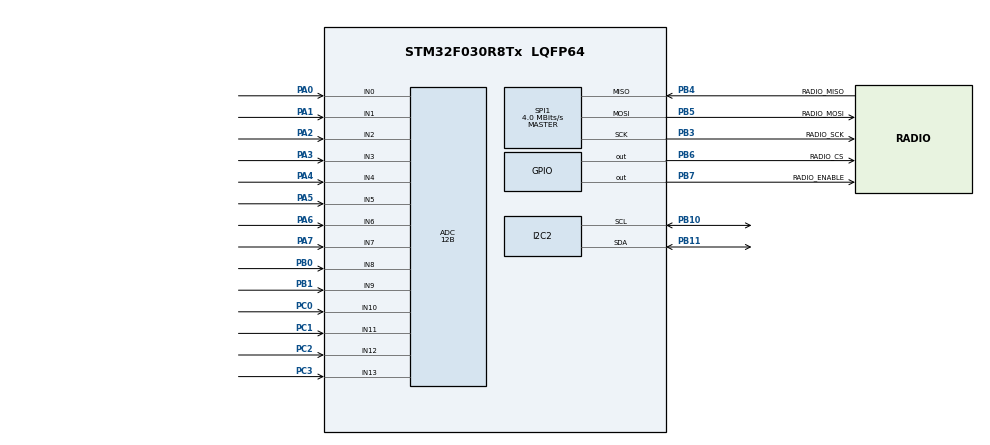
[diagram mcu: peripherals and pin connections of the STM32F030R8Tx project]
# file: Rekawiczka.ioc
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ADC.ClockPrescaler=ADC_CLOCK_SYNC_PCLK_DIV2
ADC.ContinuousConvMode=ENABLE
ADC.DMAContinuousRequests=ENABLE
ADC.DataAlign=ADC_DATAALIGN_RIGHT
ADC.DiscontinuousConvMode=DISABLE
ADC.EOCSelection=ADC_EOC_SEQ_CONV
ADC.EnableAnalogWatchDog=false
ADC.ExternalTrigConv=ADC_SOFTWARE_START
ADC.ExternalTrigConvEdge=ADC_EXTERNALTRIGCONVEDGE_NONE
ADC.LowPowerAutoPowerOff=DISABLE
ADC.LowPowerAutoWait=DISABLE
ADC.Overrun=ADC_OVR_DATA_OVERWRITTEN
ADC.Resolution=ADC_RESOLUTION_12B
ADC.SamplingTime=ADC_SAMPLETIME_7CYCLES_5
ADC.ScanConvMode=ADC_SCAN_DIRECTION_FORWARD
Dma.ADC.0.Direction=DMA_PERIPH_TO_MEMORY
Dma.ADC.0.Instance=DMA1_Channel1
Dma.ADC.0.MemDataAlignment=DMA_MDATAALIGN_HALFWORD
Dma.ADC.0.MemInc=DMA_MINC_ENABLE
Dma.ADC.0.Mode=DMA_CIRCULAR
Dma.ADC.0.PeriphDataAlignment=DMA_PDATAALIGN_HALFWORD
Dma.ADC.0.PeriphInc=DMA_PINC_DISABLE
Dma.ADC.0.Priority=DMA_PRIORITY_LOW
Dma.Request0=ADC
Mcu.Family=STM32F0
Mcu.Name=STM32F030R8Tx
Mcu.Package=LQFP64
NVIC.DMA1_Channel1_IRQn=true\:0\:0\:false\:false\:true\:false
PA0.Mode=IN0
PA0.Signal=ADC_IN0
PA1.Mode=IN1
PA1.Signal=ADC_IN1
PA13.Mode=Serial_Wire
PA13.Signal=SYS_SWDIO
PA14.Mode=Serial_Wire
PA14.Signal=SYS_SWCLK
PA2.Mode=IN2
PA2.Signal=ADC_IN2
PA3.Mode=IN3
PA3.Signal=ADC_IN3
PA4.Mode=IN4
PA4.Signal=ADC_IN4
PA5.Mode=IN5
PA5.Signal=ADC_IN5
PA6.Mode=IN6
PA6.Signal=ADC_IN6
PA7.Mode=IN7
PA7.Signal=ADC_IN7
PB0.Mode=IN8
PB0.Signal=ADC_IN8
PB1.Mode=IN9
PB1.Signal=ADC_IN9
PB10.Mode=I2C
PB10.Signal=I2C2_SCL
PB11.Mode=I2C
PB11.Signal=I2C2_SDA
PB3.GPIO_Label=RADIO_SCK
PB3.Mode=Full_Duplex_Master
PB3.Signal=SPI1_SCK
PB4.GPIO_Label=RADIO_MISO
PB4.Mode=Full_Duplex_Master
PB4.Signal=SPI1_MISO
PB5.GPIO_Label=RADIO_MOSI
PB5.Mode=Full_Duplex_Master
PB5.Signal=SPI1_MOSI
PB6.GPIO_Label=RADIO_CS
PB6.Signal=GPIO_Output
PB7.GPIO_Label=RADIO_ENABLE
PB7.Signal=GPIO_Output
PC0.Mode=IN10
PC0.Signal=ADC_IN10
PC1.Mode=IN11
PC1.Signal=ADC_IN11
PC2.Mode=IN12
PC2.Signal=ADC_IN12
PC3.Mode=IN13
PC3.Signal=ADC_IN13
ProjectManager.HeapSize=0x200
ProjectManager.StackSize=0x400
ProjectManager.TargetToolchain=TrueSTUDIO
SPI1.BaudRatePrescaler=SPI_BAUDRATEPRESCALER_2
SPI1.CalculateBaudRate=4.0 MBits/s
SPI1.DataSize=SPI_DATASIZE_8BIT
SPI1.Direction=SPI_DIRECTION_2LINES
SPI1.Mode=SPI_MODE_MASTER
SPI1.VirtualType=VM_MASTER
board=Rekawiczka

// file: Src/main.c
/**
 ******************************************************************************
 * @file           : main.c
 * @brief          : Main program body
 ******************************************************************************
 ** This notice applies to any and all portions of this file
 * that are not between comment pairs USER CODE BEGIN and
 * USER CODE END. Other portions of this file, whether
 * inserted by the user or by software development tools
 * are owned by their respective copyright owners.
 *
 * COPYRIGHT(c) 2018 STMicroelectronics
 *
 * Redistribution and use in source and binary forms, with or without modification,
 * are permitted provided that the following conditions are met:
 *   1. Redistributions of source code must retain the above copyright notice,
 *      this list of conditions and the following disclaimer.
 *   2. Redistributions in binary form must reproduce the above copyright notice,
 *      this list of conditions and the following disclaimer in the documentation
 *      and/or other materials provided with the distribution.
 *   3. Neither the name of STMicroelectronics nor the names of its contributors
 *      may be used to endorse or promote products derived from this software
 *      without specific prior written permission.
 *
 * THIS SOFTWARE IS PROVIDED BY THE COPYRIGHT HOLDERS AND CONTRIBUTORS "AS IS"
 * AND ANY EXPRESS OR IMPLIED WARRANTIES, INCLUDING, BUT NOT LIMITED TO, THE
 * IMPLIED WARRANTIES OF MERCHANTABILITY AND FITNESS FOR A PARTICULAR PURPOSE ARE
 * DISCLAIMED. IN NO EVENT SHALL THE COPYRIGHT HOLDER OR CONTRIBUTORS BE LIABLE
 * FOR ANY DIRECT, INDIRECT, INCIDENTAL, SPECIAL, EXEMPLARY, OR CONSEQUENTIAL
 * DAMAGES (INCLUDING, BUT NOT LIMITED TO, PROCUREMENT OF SUBSTITUTE GOODS OR
 * SERVICES; LOSS OF USE, DATA, OR PROFITS; OR BUSINESS INTERRUPTION) HOWEVER
 * CAUSED AND ON ANY THEORY OF LIABILITY, WHETHER IN CONTRACT, STRICT LIABILITY,
 * OR TORT (INCLUDING NEGLIGENCE OR OTHERWISE) ARISING IN ANY WAY OUT OF THE USE
 * OF THIS SOFTWARE, EVEN IF ADVISED OF THE POSSIBILITY OF SUCH DAMAGE.
 *
 ******************************************************************************
 */
#include "main.h"
#include "stm32f0xx_hal.h"
#include "adc.h"
#include "dma.h"
#include "i2c.h"
#include "spi.h"
#include "gpio.h"

/* USER CODE BEGIN Includes */
#include "hand_module_radio.h"
/* USER CODE END Includes */

/* USER CODE BEGIN PV */
/* Private variables ---------------------------------------------------------*/
uint16_t ADC_Value[14];
uint16_t dataToSend[10];

#define MAX_8BIT 256.0f
#define MAX_12BIT 4096
#define HALF_OF_12 2098
/* USER CODE END PV */

void SystemClock_Config(void);

/* USER CODE BEGIN PFP */
/* Private function prototypes -----------------------------------------------*/

/* USER CODE END PFP */

int main(void) {

	/* MCU Configuration----------------------------------------------------------*/

	/* Reset of all peripherals, Initializes the Flash interface and the Systick. */
	HAL_Init();

	/* Configure the system clock */
	SystemClock_Config();

	/* Initialize all configured peripherals */
	MX_GPIO_Init();
	MX_DMA_Init();
	MX_ADC_Init();
	MX_I2C2_Init();
	MX_SPI1_Init();
	/* USER CODE BEGIN 2 */
	handModuleRadioInit();
	TM_NRF24L01_Transmit_Status_t transmissionStatus;

	uint8_t isConnection = 0;

	isConnection = 1;

	HAL_ADC_Start_DMA(&hadc, (uint8_t*) ADC_Value, 14);
	/* USER CODE END 2 */

	/* Infinite loop */
	/* USER CODE BEGIN WHILE */
	while (1) {
		dataToSend[0] = ADC_Value[1];
		dataToSend[1] = ADC_Value[0];
		dataToSend[2] = ADC_Value[4];
		dataToSend[3] = ADC_Value[5];
		dataToSend[4] = ADC_Value[6];
		dataToSend[5] = ADC_Value[7];
		dataToSend[6] = ADC_Value[13];
		dataToSend[7] = ADC_Value[12];
		dataToSend[8] = ADC_Value[11];
		dataToSend[9] = ADC_Value[10];

		TM_NRF24L01_Transmit((uint8_t*) dataToSend);
		/* Wait for data to be sent */
		do {
			transmissionStatus = TM_NRF24L01_GetTransmissionStatus();
		} while (transmissionStatus == TM_NRF24L01_Transmit_Status_Sending);
		/* Go back to RX Mode */

		/* USER CODE END WHILE */

	}

}

void SystemClock_Config(void) {

	RCC_OscInitTypeDef RCC_OscInitStruct;
	RCC_ClkInitTypeDef RCC_ClkInitStruct;

	/**Initializes the CPU, AHB and APB busses clocks
	 */
	RCC_OscInitStruct.OscillatorType = RCC_OSCILLATORTYPE_HSI;
	RCC_OscInitStruct.HSIState = RCC_HSI_ON;
	RCC_OscInitStruct.HSICalibrationValue = 16;
	RCC_OscInitStruct.PLL.PLLState = RCC_PLL_NONE;
	if (HAL_RCC_OscConfig(&RCC_OscInitStruct) != HAL_OK) {
		_Error_Handler(__FILE__, __LINE__);
	}

	/**Initializes the CPU, AHB and APB busses clocks
	 */
	RCC_ClkInitStruct.ClockType = RCC_CLOCKTYPE_HCLK | RCC_CLOCKTYPE_SYSCLK
			| RCC_CLOCKTYPE_PCLK1;
	RCC_ClkInitStruct.SYSCLKSource = RCC_SYSCLKSOURCE_HSI;
	RCC_ClkInitStruct.AHBCLKDivider = RCC_SYSCLK_DIV1;
	RCC_ClkInitStruct.APB1CLKDivider = RCC_HCLK_DIV1;

	if (HAL_RCC_ClockConfig(&RCC_ClkInitStruct, FLASH_LATENCY_0) != HAL_OK) {
		_Error_Handler(__FILE__, __LINE__);
	}

	/**Configure the Systick interrupt time
	 */
	HAL_SYSTICK_Config(HAL_RCC_GetHCLKFreq() / 1000);

	/**Configure the Systick
	 */
	HAL_SYSTICK_CLKSourceConfig(SYSTICK_CLKSOURCE_HCLK);

	/* SysTick_IRQn interrupt configuration */
	HAL_NVIC_SetPriority(SysTick_IRQn, 0, 0);
}

void _Error_Handler(char *file, int line) {
	while (1) {
	}
}

/************************ (C) COPYRIGHT STMicroelectronics *****END OF FILE****/
